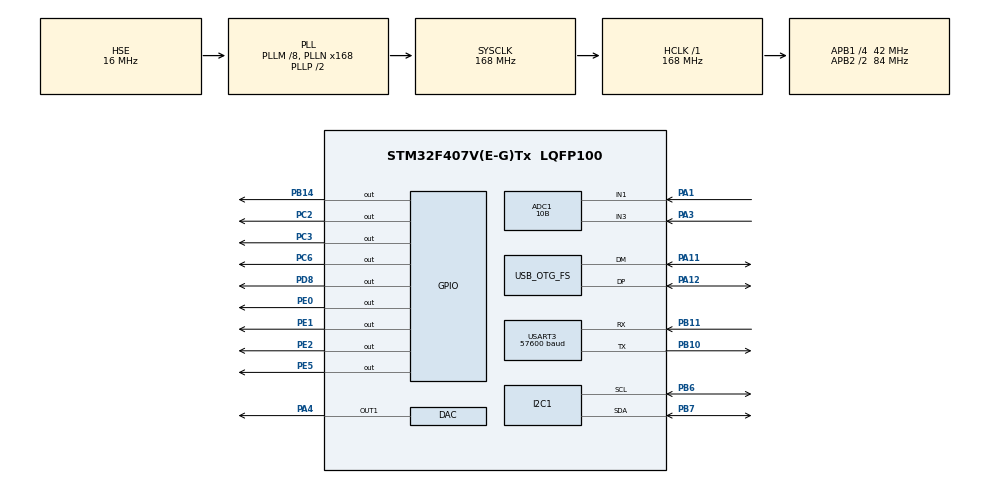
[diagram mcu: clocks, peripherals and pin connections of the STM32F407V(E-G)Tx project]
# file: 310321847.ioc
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ADC1.Channel-0\#ChannelRegularConversion=ADC_CHANNEL_1
ADC1.Channel-1\#ChannelRegularConversion=ADC_CHANNEL_3
ADC1.ContinuousConvMode=ENABLE
ADC1.DMAContinuousRequests=ENABLE
ADC1.NbrOfConversion=2
ADC1.NbrOfConversionFlag=1
ADC1.Rank-0\#ChannelRegularConversion=1
ADC1.Rank-1\#ChannelRegularConversion=2
ADC1.Resolution=ADC_RESOLUTION_10B
ADC1.SamplingTime-0\#ChannelRegularConversion=ADC_SAMPLETIME_480CYCLES
ADC1.SamplingTime-1\#ChannelRegularConversion=ADC_SAMPLETIME_480CYCLES
ADC1.ScanConvMode=ENABLE
ADC1.master=1
Dma.ADC1.0.Direction=DMA_PERIPH_TO_MEMORY
Dma.ADC1.0.FIFOMode=DMA_FIFOMODE_ENABLE
Dma.ADC1.0.FIFOThreshold=DMA_FIFO_THRESHOLD_FULL
Dma.ADC1.0.Instance=DMA2_Stream4
Dma.ADC1.0.MemBurst=DMA_MBURST_SINGLE
Dma.ADC1.0.MemDataAlignment=DMA_MDATAALIGN_HALFWORD
Dma.ADC1.0.MemInc=DMA_MINC_ENABLE
Dma.ADC1.0.Mode=DMA_CIRCULAR
Dma.ADC1.0.PeriphBurst=DMA_PBURST_SINGLE
Dma.ADC1.0.PeriphDataAlignment=DMA_PDATAALIGN_HALFWORD
Dma.ADC1.0.PeriphInc=DMA_PINC_DISABLE
Dma.ADC1.0.Priority=DMA_PRIORITY_LOW
Dma.Request0=ADC1
Mcu.Family=STM32F4
Mcu.Name=STM32F407V(E-G)Tx
Mcu.Package=LQFP100
NVIC.DMA2_Stream4_IRQn=true\:0\:0\:false\:false\:true\:false\:true
NVIC.OTG_FS_IRQn=true\:0\:0\:false\:false\:true\:false\:true
NVIC.PriorityGroup=NVIC_PRIORITYGROUP_4
NVIC.TIM2_IRQn=true\:0\:0\:false\:false\:true\:true\:true
NVIC.TIM3_IRQn=true\:0\:0\:false\:false\:true\:true\:true
NVIC.USART3_IRQn=true\:0\:0\:false\:false\:true\:true\:true
PA1.Signal=ADCx_IN1
PA11.Mode=Device_Only
PA11.Signal=USB_OTG_FS_DM
PA12.Mode=Device_Only
PA12.Signal=USB_OTG_FS_DP
PA13.Mode=Serial_Wire
PA13.Signal=SYS_JTMS-SWDIO
PA14.Mode=Serial_Wire
PA14.Signal=SYS_JTCK-SWCLK
PA3.Signal=ADCx_IN3
PA4.Signal=COMP_DAC1_group
PB10.Mode=Asynchronous
PB10.Signal=USART3_TX
PB11.Mode=Asynchronous
PB11.Signal=USART3_RX
PB14.Signal=GPIO_Output
PB6.Mode=I2C
PB6.Signal=I2C1_SCL
PB7.Mode=I2C
PB7.Signal=I2C1_SDA
PC2.Signal=GPIO_Output
PC3.Signal=GPIO_Output
PC6.Signal=GPIO_Output
PD8.Signal=GPIO_Output
PE0.Signal=GPIO_Output
PE1.Signal=GPIO_Output
PE2.Signal=GPIO_Output
PE5.Signal=GPIO_Output
PH0-OSC_IN.Mode=HSE-External-Oscillator
PH0-OSC_IN.Signal=RCC_OSC_IN
PH1-OSC_OUT.Mode=HSE-External-Oscillator
PH1-OSC_OUT.Signal=RCC_OSC_OUT
ProjectManager.HeapSize=0x1000
ProjectManager.StackSize=0x500
ProjectManager.TargetToolchain=MDK-ARM V5
RCC.48MHZClocksFreq_Value=48000000
RCC.AHBFreq_Value=168000000
RCC.APB1CLKDivider=RCC_HCLK_DIV4
RCC.APB1Freq_Value=42000000
RCC.APB1TimFreq_Value=84000000
RCC.APB2CLKDivider=RCC_HCLK_DIV2
RCC.APB2Freq_Value=84000000
RCC.APB2TimFreq_Value=168000000
RCC.CortexFreq_Value=168000000
RCC.EnbaleCSS=true
RCC.HCLKFreq_Value=168000000
RCC.HSE_VALUE=16000000
RCC.HSI_VALUE=16000000
RCC.LSE_VALUE=32768
RCC.PLLM=8
RCC.PLLN=168
RCC.PLLQ=7
RCC.SYSCLKFreq_VALUE=168000000
RCC.SYSCLKSource=RCC_SYSCLKSOURCE_PLLCLK
RCC.VCOOutputFreq_Value=336000000
SH.ADCx_IN1.0=ADC1_IN1,IN1
SH.ADCx_IN3.0=ADC1_IN3,IN3
SH.COMP_DAC1_group.0=DAC_OUT1,DAC_OUT1
TIM2.AutoReloadPreload=TIM_AUTORELOAD_PRELOAD_ENABLE
TIM2.Period=499
TIM2.Prescaler=8399
TIM2.TIM_MasterOutputTrigger=TIM_TRGO_UPDATE
TIM3.AutoReloadPreload=TIM_AUTORELOAD_PRELOAD_ENABLE
TIM3.Period=499
TIM3.Prescaler=8399
TIM3.TIM_MasterOutputTrigger=TIM_TRGO_UPDATE
USART3.BaudRate=57600
USART3.VirtualMode=VM_ASYNC
USB_DEVICE.APP_RX_DATA_SIZE-CDC_FS=64
USB_DEVICE.APP_TX_DATA_SIZE-CDC_FS=64
USB_DEVICE.CLASS_NAME_FS=CDC
USB_DEVICE.CONFIGURATION_STRING_CDC_FS=CDC Configure
USB_DEVICE.USBD_MAX_STR_DESC_SIZ-CDC_FS=128
USB_DEVICE.VirtualMode-CDC_FS=Cdc
USB_DEVICE.VirtualModeFS=Cdc_FS
USB_OTG_FS.VirtualMode=Device_Only
VP_TIM2_VS_ClockSourceINT.Mode=Internal
VP_TIM3_VS_ClockSourceINT.Mode=Internal
VP_USB_DEVICE_VS_USB_DEVICE_CDC_FS.Mode=CDC_FS
board=custom

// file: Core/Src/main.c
/* USER CODE BEGIN Header */
/**
  ******************************************************************************
  * @file           : main.c
  * @brief          : Main program body
  ******************************************************************************
  * @attention
  *
  * <h2><center>&copy; Copyright (c) 2021 STMicroelectronics.
  * All rights reserved.</center></h2>
  *
  * This software component is licensed by ST under Ultimate Liberty license
  * SLA0044, the "License"; You may not use this file except in compliance with
  * the License. You may obtain a copy of the License at:
  *                             www.st.com/SLA0044
  *
  ******************************************************************************
  */
/* USER CODE END Header */

#include "main.h"
#include "adc.h"
#include "dac.h"
#include "dma.h"
#include "i2c.h"
#include "tim.h"
#include "usart.h"
#include "usb_device.h"
#include "gpio.h"

/* USER CODE BEGIN Includes */
#include "usbd_cdc_if.h"
#include "string.h"
#include "stdio.h"
#include "math.h"

/* USER CODE END Includes */

/* USER CODE BEGIN PM */
#define  ExpValve_Open()        (GPIOC->ODR&=(~(1<<2)))
#define  ExpValve_Close()       (GPIOC->ODR|=(1<<2))
#define  InspValve_Close()      (GPIOC->ODR|=(1<<3))
#define  InspValve_Open()       (GPIOC->ODR&=(~(1<<3)))

#define  CMVPC                   1
#define  CMVVC                   2
#define  SIMVPC                  3
#define  SIMVVC                  4
#define  cPAP                    5
#define  BiPAP                   6
#define  PSV                     7
#define  APRVC                   8

#define  Exp_Cycle               1
#define  Insp_Cycle              0

/* USER CODE END PM */

/* USER CODE BEGIN PV */
const float delP_sensitivity=1.000;
const float gP_sensitivity=44.13;
const float gP_samples=10;
const float delP_samples=8;
uint16_t AdcData[2];
uint16_t gP_volt,delP_volt;
uint16_t delPraw,gPraw;
uint16_t gP_oldF,gP_newF,delP_oldF,delP_newF;
uint16_t P_Offset,P_Online,P_Online1;

float delPOffset=2532.40,delPOnline;
float pressure=0,P_cmh2o=0,P_cmh2o1=0;
float delp_flow1=0,dp=0,dp1=0;
float Volume=0,Flow_Volume;
double	Flow=0,Flow1=0,Flow2=0,delp_flow=0;
int P_UART,F_UART,V_UART;
int P_USB,F_USB,V_USB;
uint32_t UART_count=0;
uint8_t  debug=1;
#define ADS1115_ADDRESS 0x49
unsigned char ADSwrite[3];
unsigned char ADSread[2];
int16_t O2raw;
int16_t AWflowraw;
int16_t O2flowraw;
int16_t Pressureraw;
float P_volt;
float F_volt;
uint16_t	flow_F=0;
	long c2=0,c1=0;

/* tab communication data Manipulating Parameters */

char Rx_UART[]="s0000";
char Rx_USB[6];
char Tx_UART[]="999\n";
char Tx_UART_Regular[]="P00Q0000V00000\n";
char Tx_UART_Sampled[]="00p0000q0000v0\n";
char Tx_USB_Regular[]="P00Q0000V00000\n";
char Tx_USB_Sampled[]="00p0000q0000v0\n";
float reacedVolume=0,reacedPIP=0,reacedPEEP=0;
char Flag;
uint8_t mode=1,stop=0,confirm=0,status=0,u_status=0;
int value1=0;

/* set data Calculating Parameters */
uint8_t PIP=50,PEEP=0,reached_pip=0,reached_peep=0;
uint8_t RespiratoryRate=20,Iratio=1,Eratio=2;
float Tinsp2=0,Texp2=0,Tinsp1=0,Texp1=0,Tresp=0,b_speed=0;
uint16_t Tinsp=0,Texp=0,last_insp=0,last_exp=0;
uint16_t reached_volume=0,PIP_Raw=0,PEEP_Raw=0;
float FiO2=21,Trise=0;
uint16_t VOL=250,Timeslice=1;
uint8_t speed=0;
uint16_t DataValue=0, blowerSpeed=0,Timeslice;
uint8_t cycle=0,count=0,breath_cycle=0,stabilize_count=0;
uint16_t fl1=0;
uint8_t vflag=0;
typedef struct
{
	uint8_t     running_mode;
	uint8_t     RR;
	uint8_t     I;
	uint8_t     E;
	uint8_t     Pip;
	uint8_t     Peep;
	uint16_t    Vol;
	float       O2;
	float       Trise;
}running_data;

running_data Data1={0,0,0,0,0,0,0,0,0};

typedef struct
{
	uint8_t    RespiratoryRate;
	uint8_t    InspirationRatio;
	uint8_t    ExpirationRatio;
	uint8_t    pip;
	uint8_t    peep;
	uint16_t   Volume;
	float      Oxygen;
	float      Risetime;
}Modes;

  Modes CMV_PC= {15,1,2,50,5,250,21,1};
	Modes CMV_VC= {15,1,2,30,5,1000,21,1};
	Modes SIMV_PC= {15,1,2,30,5,1,21,1};
	Modes SIMV_VC= {15,1,2,30,5,5,21,1};
	Modes PS_V=    {15,1,2,30,5,5,21,1};
	Modes cPAP_V= {15,1,2,30,5,5,21,1};
	Modes BiPAP_V= {15,1,2,30,5,1,21,1};
	Modes APR_VC= {15,1,2,30,5,5,21,1};

struct States
{
	void(*functionPointer)(void);
	uint32_t countInstances;
	const struct States *Next_Sequence[2];
};
typedef const struct States Sequence;

ADC_AnalogWDGConfTypeDef AnalogWDGConfig = {0};

/* USER CODE END PV */

void SystemClock_Config(void);
/* USER CODE BEGIN PFP */
void Breath_update(void)
{
	if(last_insp!=Tinsp)
	{
	HAL_TIM_Base_Stop_IT(&htim2);
	TIM2->ARR=Tinsp;
	last_insp=Tinsp;
	HAL_TIM_Base_Start_IT(&htim2);
	}
	else
	{
	HAL_TIM_Base_Stop_IT(&htim2);
	TIM2->ARR=Tinsp;
	HAL_TIM_Base_Start_IT(&htim2);
	}
}
int Decode(char Rx1[])
{
	int value=0;
	if(Rx1[0]=='\n')return 0;
	else
{
	Flag=Rx1[0];
  for(int i=1;Rx1[i]!='\n';i++)
	{
	value=(value*10)+(Rx1[i]-48);
	}
}
	return value;
}
void Tinex_calc(void)
	{
	Tresp=(600000/(Data1.RR));                               // 10000 timercount=1sec,600000count=min
	Tinsp2=1.00*Data1.I/(Data1.I+Data1.E);
	Tinsp1=Tinsp2*Tresp;
  Texp1=Tresp-Tinsp1;
	Tinsp=(uint16_t)Tinsp1;
 	Texp=(uint16_t)Texp1;
  Tinsp= Tinsp-1;
	Texp=Texp-1;
	}
uint16_t F_gPCalc(uint16_t value)
{
	  gPraw=value;
	/*  gP_newF=gPraw;
		gP_newF=((gP_newF-gP_oldF)/gP_samples)+gP_oldF;
		gP_oldF=gP_newF;*/
 	  gP_volt=(gPraw*5000)/1023;
	  return gP_volt;
}

	void Task_BreathSequence(void)
{

}
uint16_t ADS1115_Getdata(uint8_t channel)
{
		  uint16_t  ADCraw=0;
		ADSwrite[0] = 0x01;
		switch(channel)
		{
			case 0:
		 				ADSwrite[1] =0xCD;                         // 1100 1101       0.256V,Channel_0
		   			break;
		 case 1:
			     ADSwrite[1] = 0xD3;                        // 1101 0011       4.096V,Channel_1
		   		 break;
		 case 2:
			     ADSwrite[1] = 0xE3;                        // 1110 0011       4.096V,Channel_2
		       break;
		 case 3:
			     ADSwrite[1] = 0xC3;                        // 1111 0011   4.096V,Channel_3//changed to  1100 0011   4.096V,Channel_3
		       break;
		}

	        ADSwrite[2] = 0x83;                         // 10000011     128 SamplesperSecond,No comparator //changed to 0x83
		      HAL_Delay(10);
      		HAL_I2C_Master_Transmit(&hi2c1, ADS1115_ADDRESS<<1, ADSwrite, 3, 10);
				  ADSwrite[0] = 0x00;
		  		HAL_I2C_Master_Transmit(&hi2c1, ADS1115_ADDRESS<<1, ADSwrite, 1, 10);

					HAL_I2C_Master_Receive(&hi2c1, (ADS1115_ADDRESS<<1),ADSread,2,10);

		    ADCraw = (ADSread[0] << 8 | ADSread[1]);

		    return   ADCraw;
		}
float Raw_Volt(uint16_t r)
{
	float volt=0;
	volt=(r*4096.00)/32768;
	return volt;
}
uint16_t F_delPCalc(uint16_t value)
{
	 	delPraw=value;
  	delP_newF=delPraw;
		delP_newF=((delP_newF-delP_oldF)/5.00)+delP_oldF;
	 delP_oldF=delP_newF;
	  return delP_newF;
}
	 void GetFlow(void)
	 {
	 	AWflowraw=ADS1115_Getdata(3);
	flow_F=F_delPCalc(AWflowraw);
F_volt=Raw_Volt(flow_F);
	 }
	 void	function_gPcalibration(void)
	{
		for(int n=0;n<1000;n++)
		{
    P_Offset=F_gPCalc(AdcData[1]);
		HAL_Delay(1);
		}

	}

	void	function_delPcalibration(void)
	{
		for(int n=0;n<1000;n++)
		{
		GetFlow();
	  delPOffset=(F_volt);
  	HAL_Delay(1);
	 }
	}
	void Task_OffsetCalculations(void)
{
	  InspValve_Close();
	  ExpValve_Close();
	  HAL_Delay(2000);
		function_gPcalibration();
  	function_delPcalibration();
}
void Task_ReceivingPara(void)
{
	if(Flag=='Z')
	  {
		switch(stop)
		{
		 case 0:

		 debug=0;
//				if(u_status==1)
//			{
//					HAL_TIM_Base_Start_IT(&htim2);
//			}
			break;
		 case 1:
					 debug=1;
//			HAL_TIM_Base_Stop_IT(&htim2);
//		  ExpValve_Open();
//		  InspValve_Close();
			break;
		 default:
			 break;
	}
}
		switch(mode)
		{
		case CMVPC:
		CMV_PC.RespiratoryRate=RespiratoryRate;
		CMV_PC.InspirationRatio=Iratio;
		CMV_PC.ExpirationRatio=Eratio;
		CMV_PC.pip=PIP;
		CMV_PC.peep=PEEP;
		CMV_PC.Volume=VOL;
		CMV_PC.Risetime=Trise;
		CMV_PC.Oxygen=FiO2;
			break;
			case CMVVC:
		CMV_VC.RespiratoryRate=RespiratoryRate;
		CMV_VC.InspirationRatio=Iratio;
		CMV_VC.ExpirationRatio=Eratio;
		CMV_VC.pip=PIP;
		CMV_VC.peep=PEEP;
		CMV_VC.Volume=VOL;
		CMV_VC.Risetime=Trise;
		CMV_VC.Oxygen=FiO2;
		 	break;
			case SIMVVC:
		SIMV_VC.RespiratoryRate=RespiratoryRate;
		SIMV_VC.InspirationRatio=Iratio;
		SIMV_VC.ExpirationRatio=Eratio;
		SIMV_VC.pip=PIP;
		SIMV_VC.peep=PEEP;
		SIMV_VC.Volume=VOL;
		SIMV_VC.Risetime=Trise;
		SIMV_VC.Oxygen=FiO2;
		 	break;
			case SIMVPC:
		SIMV_PC.RespiratoryRate=RespiratoryRate;
		SIMV_PC.InspirationRatio=Iratio;
		SIMV_PC.ExpirationRatio=Eratio;
		SIMV_PC.pip=PIP;
		SIMV_PC.peep=PEEP;
		SIMV_PC.Volume=VOL;
		SIMV_PC.Risetime=Trise;
		SIMV_PC.Oxygen=FiO2;
		 	break;
			case cPAP:
		cPAP_V.RespiratoryRate=RespiratoryRate;
		cPAP_V.InspirationRatio=Iratio;
		cPAP_V.ExpirationRatio=Eratio;
		cPAP_V.pip=PIP;
		cPAP_V.peep=PEEP;
		cPAP_V.Volume=VOL;
		cPAP_V.Risetime=Trise;
		cPAP_V.Oxygen=FiO2;
		  break;
			case BiPAP:
		BiPAP_V.RespiratoryRate=RespiratoryRate;
		BiPAP_V.InspirationRatio=Iratio;
		BiPAP_V.ExpirationRatio=Eratio;
		BiPAP_V.pip=PIP;
		BiPAP_V.peep=PEEP;
		BiPAP_V.Volume=VOL;
		BiPAP_V.Risetime=Trise;
		BiPAP_V.Oxygen=FiO2;
		   break;
			case APRVC:
		APR_VC.RespiratoryRate=RespiratoryRate;
		APR_VC.InspirationRatio=Iratio;
		APR_VC.ExpirationRatio=Eratio;
		APR_VC.pip=PIP;
		APR_VC.peep=PEEP;
		APR_VC.Volume=VOL;
		APR_VC.Risetime=Trise;
		APR_VC.Oxygen=FiO2;
			break;
			case PSV:
		PS_V.RespiratoryRate=RespiratoryRate;
		PS_V.InspirationRatio=Iratio;
		PS_V.ExpirationRatio=Eratio;
		PS_V.pip=PIP;
		PS_V.peep=PEEP;
		PS_V.Volume=VOL;
		PS_V.Risetime=Trise;
		PS_V.Oxygen=FiO2;
				break;
			default:
			break;
	}
	if(confirm==1)
	//		if((stop==0)&&(confirm==1))
		 {
		 Data1.running_mode=mode;
		 switch(Data1.running_mode)
		 {
	     case CMVPC:
		Data1.RR=CMV_PC.RespiratoryRate;
    Data1.I=CMV_PC.InspirationRatio;
		Data1.E=CMV_PC.ExpirationRatio;
		Data1.Pip=CMV_PC.pip;
		Data1.Peep=CMV_PC.peep;
		Data1.Vol=CMV_PC.Volume;
		Data1.Trise=CMV_PC.Risetime;
		Data1.O2=CMV_PC.Oxygen;
	     break;
			 case CMVVC:
	  Data1.RR=CMV_VC.RespiratoryRate;
    Data1.I=CMV_VC.InspirationRatio;
		Data1.E=CMV_VC.ExpirationRatio;
		Data1.Pip=CMV_VC.pip;
		Data1.Peep=CMV_VC.peep;
		Data1.Vol=CMV_VC.Volume;
		Data1.Trise=CMV_VC.Risetime;
		Data1.O2=CMV_VC.Oxygen;
			 break;
			 case SIMVVC:
		Data1.RR=SIMV_VC.RespiratoryRate;
    Data1.I=SIMV_VC.InspirationRatio;
		Data1.E=SIMV_VC.ExpirationRatio;
		Data1.Pip=SIMV_VC.pip;
		Data1.Peep=SIMV_VC.peep;
		Data1.Vol=SIMV_VC.Volume;
		Data1.Trise=SIMV_VC.Risetime;
		Data1.O2=SIMV_VC.Oxygen;
			 break;
			 case SIMVPC:
		Data1.RR=SIMV_PC.RespiratoryRate;
    Data1.I=SIMV_PC.InspirationRatio;
		Data1.E=SIMV_PC.ExpirationRatio;
		Data1.Pip=SIMV_PC.pip;
		Data1.Peep=SIMV_PC.peep;
		Data1.Vol=SIMV_PC.Volume;
		Data1.Trise=SIMV_PC.Risetime;
		Data1.O2=SIMV_PC.Oxygen;
			break;
			 case cPAP:
		Data1.RR=cPAP_V.RespiratoryRate;
    Data1.I=cPAP_V.InspirationRatio;
		Data1.E=cPAP_V.ExpirationRatio;
		Data1.Pip=cPAP_V.pip;
		Data1.Peep=cPAP_V.peep;
		Data1.Vol=cPAP_V.Volume;
		Data1.Trise=cPAP_V.Risetime;
		Data1.O2=cPAP_V.Oxygen;
				break;
			 case BiPAP:
		Data1.RR=BiPAP_V.RespiratoryRate;
    Data1.I=BiPAP_V.InspirationRatio;
		Data1.E=BiPAP_V.ExpirationRatio;
		Data1.Pip=BiPAP_V.pip;
		Data1.Peep=BiPAP_V.peep;
		Data1.Vol=BiPAP_V.Volume;
		Data1.Trise=BiPAP_V.Risetime;
		Data1.O2=BiPAP_V.Oxygen;
			 	break;
			 case APRVC:
  	Data1.RR=APR_VC.RespiratoryRate;
    Data1.I=APR_VC.InspirationRatio;
		Data1.E=APR_VC.ExpirationRatio;
		Data1.Pip=APR_VC.pip;
		Data1.Peep=APR_VC.peep;
		Data1.Vol=APR_VC.Volume;
		Data1.Trise=APR_VC.Risetime;
		 Data1.O2=APR_VC.Oxygen;
		  	break;
			 case PSV:
		Data1.RR=PS_V.RespiratoryRate;
    Data1.I=PS_V.InspirationRatio;
		Data1.E=PS_V.ExpirationRatio;
		Data1.Pip=PS_V.pip;
		Data1.Peep=PS_V.peep;
		Data1.Vol=PS_V.Volume;
		Data1.Trise=PS_V.Risetime;
		 Data1.O2=PS_V.Oxygen;
			 break;
			 default:
			break;
		}
	 	Tinex_calc();
		breath_cycle=1;
		HAL_TIM_Base_Start_IT(&htim2);
		Volume=0;
		u_status=1;
		confirm=0;
	   }
	 }

/* USER CODE END PFP */

/* USER CODE BEGIN 0 */

	 void _Flow()
{
   GetFlow();
	delp_flow1 =(F_volt-delPOffset)/1000.00;  //kpa

			dp=delp_flow1*10; //mbar

			Flow1=0.1512*dp*dp*dp-3.3424*dp*dp+41.657*dp;
		//	y=-0.0030x2+1.6819x+1.6929
	//y=-0.0047x2+1.9158x-6.8949 // distorted values taken +ve flow
	//y=0.0000x3+0.0109x2+1.8974x+6.6549 // distorted values -ve flow
	//y=-0.0001x3+0.0073x2+1.0867x-0.2701 // sunday upto 100 cubic
	/////////////////////
			if(Flow1>=0)
			{
				//Flow1=-0.0070*Flow1*Flow1+1.5340*Flow1-2.5515;
		Flow2=(0.0073*Flow1*Flow1)+(1.0867*Flow1)-0.2701-(0.0001*Flow1*Flow1*Flow1);
//	      Flow1=0.007*Flow1*Flow1+0.449*Flow1+0.0021; //new equation from ADS1115
//				Flow1=-0.0030*Flow1*Flow1+1.6819*Flow1+1.6929; //+Ve

//		    Flow=-0.0047*Flow*Flow+1.9158*Flow-6.8949; //distorted +Ve
			}
			else
			{
			        Flow2=0.0039*Flow1*Flow1+1.1436*Flow1-0.5171;
				   //   Flow1=0.0012*Flow1*Flow1+0.8367*Flow1-7.1496;

//				    Flow1=-0.004*Flow1*Flow1+1.496*Flow1+1.743; //-ve
//					//Flow=0.0109*Flow*Flow+1.8974*Flow-6.6549;  //distorted -Ve
			}
		//	if((Flow2<1.2)&&(Flow2>-1.2))
	//		{
		//		Flow2=0;
		//	}
				F_USB=(int)Flow2;
	    	F_UART=F_USB;
							sprintf(Tx_USB_Regular,"P%02dQ%04dV%04d%d\n",(int)P_USB,(int)F_USB,(int)V_USB,cycle);
            	CDC_Transmit_FS((uint8_t*)Tx_USB_Regular,strlen(Tx_USB_Regular));
				    	sprintf(Tx_UART_Regular,"P%02dQ%04dV%04d%d\n",(int)P_UART,(int)F_UART,(int)V_UART,cycle);
	            HAL_UART_Transmit(&huart3,(uint8_t*)Tx_UART_Regular,sizeof(Tx_UART_Regular),5);

    sprintf(Tx_USB_Sampled,"p%02dq%04dv%04d%d\n",(int)reacedPEEP,(int)reacedPIP,(int)reacedVolume,cycle);
		CDC_Transmit_FS((uint8_t*)Tx_USB_Sampled,strlen(Tx_USB_Regular));
	 	sprintf(Tx_UART_Sampled,"p%02dq%04dv%04d%d\n",(int)reacedPEEP,(int)reacedPIP,(int)reacedVolume,cycle);
	  HAL_UART_Transmit(&huart3,(uint8_t*)Tx_UART_Sampled,sizeof(Tx_UART_Sampled),5);

	 HAL_UART_Receive_IT(&huart3,(uint8_t*)Rx_UART,sizeof(Rx_UART));
}
/* USER CODE END 0 */

int main(void)
{

  /* MCU Configuration--------------------------------------------------------*/

  /* Reset of all peripherals, Initializes the Flash interface and the Systick. */
  HAL_Init();

  /* Configure the system clock */
  SystemClock_Config();

  /* Initialize all configured peripherals */
  MX_GPIO_Init();
  MX_DMA_Init();
  MX_ADC1_Init();
  MX_DAC_Init();

  MX_TIM2_Init();
  MX_TIM3_Init();
  MX_USB_DEVICE_Init();
  MX_USART3_UART_Init();
  MX_I2C1_Init();
  /* USER CODE BEGIN 2 */
	  GPIOE->ODR&=(~(1<<5));  // BLDC disable PE5
//		HAL_DAC_Start(&hdac,DAC1_CHANNEL_1);
//	HAL_DAC_SetValue(&hdac,DAC1_CHANNEL_1,DAC_ALIGN_12B_R,0);
	HAL_Delay(3000);
	HAL_UART_Receive_IT(&huart3,(uint8_t*)Rx_UART,sizeof(Rx_UART));
  HAL_ADC_Start_DMA(&hadc1,(uint32_t*)AdcData,2);
	Task_OffsetCalculations();
	HAL_TIM_Base_Start_IT(&htim3);
 	HAL_DAC_Start(&hdac,DAC1_CHANNEL_1);
 // BLDC enable PE5
	Volume=0;
  /* USER CODE END 2 */

  /* Infinite loop */
  while (1)
  {

    /* USER CODE BEGIN 3 */
P_Online=F_gPCalc(AdcData[1]);
pressure=P_Online-P_Offset;
P_cmh2o1=pressure/gP_sensitivity;
P_cmh2o=P_cmh2o1;
P_USB=(int)P_cmh2o;
P_UART=P_USB;
	_Flow();
			if(debug==1)
		{
			 InspValve_Open();
			 ExpValve_Close();
			 reacedPIP=P_cmh2o;
		   reacedVolume=Volume;
       _Flow();
		}
		////////////////////////////////////////////////////
			if(debug==0)
		{
			////////////////////////////////////////////////CMVPC
if(stabilize_count>3)
				{
		if(Data1.running_mode==CMVPC)
				{
		if(breath_cycle==0)
			{
		 GPIOE->ODR|=(1<<5);
		blowerSpeed=(PIP/60.00)*4095.00;
		HAL_DAC_SetValue(&hdac,DAC1_CHANNEL_1,DAC_ALIGN_12B_R,blowerSpeed);
		if(P_cmh2o>=PIP)
	    {

					 reacedPIP=P_cmh2o;
				  reacedVolume=Volume;
	while(breath_cycle==0)
					{
				HAL_DAC_SetValue(&hdac,DAC1_CHANNEL_1,DAC_ALIGN_12B_R,50);
				InspValve_Close();
				ExpValve_Close();
		P_Online=F_gPCalc(AdcData[1]);
		pressure=P_Online-P_Offset;
P_cmh2o1=pressure/gP_sensitivity;
P_cmh2o=P_cmh2o1;
P_USB=(int)P_cmh2o;
P_UART=P_USB;
 _Flow();

					}
			}
			else
			{

				InspValve_Open();
				ExpValve_Close();
			}
		}
				if(breath_cycle==1)
		{
		if(P_cmh2o<=PEEP)
	    {
						reacedPEEP=P_cmh2o;

 while(breath_cycle==1)
					{
				InspValve_Close();
				ExpValve_Close();
			  P_Online=F_gPCalc(AdcData[1]);
		pressure=P_Online-P_Offset;
	P_cmh2o1=pressure/gP_sensitivity;
	P_cmh2o=P_cmh2o1;
	P_USB=(int)P_cmh2o;
	P_UART=P_USB;
						_Flow();
		   	}
		}
			else
			{
					ExpValve_Open();
				InspValve_Close();

		}

	}
}
				/////////////////////////////////////////////////////////////
		if(Data1.running_mode==CMVVC)
				{
							if(breath_cycle==0)
			{
				 GPIOE->ODR|=(1<<5);
				blowerSpeed=(VOL/1200.00)*4095;
				HAL_DAC_SetValue(&hdac,DAC1_CHANNEL_1,DAC_ALIGN_12B_R,blowerSpeed);
	if(Volume>=VOL)
	    {
    		 reacedPIP=P_cmh2o;
				  reacedVolume=Volume;
		while(breath_cycle==0)
					{
		 		HAL_DAC_SetValue(&hdac,DAC1_CHANNEL_1,DAC_ALIGN_12B_R,0);
				InspValve_Close();
				ExpValve_Close();
		P_Online=F_gPCalc(AdcData[1]);
		pressure=P_Online-P_Offset;
P_cmh2o1=pressure/gP_sensitivity;
P_cmh2o=P_cmh2o1;
P_USB=(int)P_cmh2o;
P_UART=P_USB;
 _Flow();
			}
			}
			else
			{

				InspValve_Open();
				ExpValve_Close();
			}
		}
				if(breath_cycle==1)
		{
		if(P_cmh2o<=PEEP)
	    {
			 reacedPEEP=P_cmh2o;
        while(breath_cycle==1)
					{
				InspValve_Close();
				ExpValve_Close();
			  P_Online=F_gPCalc(AdcData[1]);
		pressure=P_Online-P_Offset;
	P_cmh2o1=pressure/gP_sensitivity;
	P_cmh2o=P_cmh2o1;
	P_USB=(int)P_cmh2o;
	P_UART=P_USB;
						_Flow();
			}
		}
			else
			{
					ExpValve_Open();
				InspValve_Close();

		}
	}
	}

				if(Data1.running_mode==SIMVPC)
				{
		if(breath_cycle==0)
			{
		reacedPEEP=P_cmh2o;
		if(P_cmh2o>=PIP)
	    {
					 reacedPIP=P_cmh2o;
				  reacedVolume=Volume;
	while(breath_cycle==0)
					{
		//		InspValve_Close();
				ExpValve_Close();
				P_Online=F_gPCalc(AdcData[1]);
		pressure=P_Online-P_Offset;
P_cmh2o1=pressure/gP_sensitivity;
P_cmh2o=P_cmh2o1;
P_USB=(int)P_cmh2o;
P_UART=P_USB;
 _Flow();

					}
			}
			else
			{

				InspValve_Open();
				ExpValve_Close();
			}
		}
				if(breath_cycle==1)
		{
		if(P_cmh2o<=PEEP)
	    {

while(breath_cycle==1)
					{
				InspValve_Close();
				ExpValve_Close();
			  P_Online=F_gPCalc(AdcData[1]);
		pressure=P_Online-P_Offset;
	P_cmh2o1=pressure/gP_sensitivity;
	P_cmh2o=P_cmh2o1;
	P_USB=(int)P_cmh2o;
	P_UART=P_USB;
						_Flow();
			}
		}
			else
			{
					ExpValve_Open();
				InspValve_Close();

		}

	}
}
			/////////////////////////////////////////////////////////////
		if(Data1.running_mode==SIMVVC)
				{
							if(breath_cycle==0)
			{
				blowerSpeed=(VOL/1200.00)*4095;
				HAL_DAC_SetValue(&hdac,DAC1_CHANNEL_1,DAC_ALIGN_12B_R,blowerSpeed);
	if(Volume>=VOL)
	    {
					 reacedPIP=P_cmh2o;
				  reacedVolume=Volume;
		while(breath_cycle==0)
					{
				HAL_DAC_SetValue(&hdac,DAC1_CHANNEL_1,DAC_ALIGN_12B_R,0);
				InspValve_Close();
				ExpValve_Close();
		P_Online=F_gPCalc(AdcData[1]);
		pressure=P_Online-P_Offset;
P_cmh2o1=pressure/gP_sensitivity;
P_cmh2o=P_cmh2o1;
P_USB=(int)P_cmh2o;
P_UART=P_USB;
 _Flow();
			}
			}
			else
			{

				InspValve_Open();
				ExpValve_Close();
			}
		}
				if(breath_cycle==1)
		{
		if(P_cmh2o<=PEEP)
	    {

	        	reacedPEEP=P_cmh2o;
while(breath_cycle==1)
					{
				InspValve_Close();
				ExpValve_Close();
			  P_Online=F_gPCalc(AdcData[1]);
		pressure=P_Online-P_Offset;
	P_cmh2o1=pressure/gP_sensitivity;
	P_cmh2o=P_cmh2o1;
	P_USB=(int)P_cmh2o;
	P_UART=P_USB;
						_Flow();
			}
		}
			else
			{
					ExpValve_Open();
				InspValve_Close();

		}

	}
	}
	stabilize_count=4;
}
}
}
}
//	else if(vflag==0){
//		Volume=0;
//		vflag=1;
//	}

  /* USER CODE END 3 */

void SystemClock_Config(void)
{
  RCC_OscInitTypeDef RCC_OscInitStruct = {0};
  RCC_ClkInitTypeDef RCC_ClkInitStruct = {0};

  /** Configure the main internal regulator output voltage
  */
  __HAL_RCC_PWR_CLK_ENABLE();
  __HAL_PWR_VOLTAGESCALING_CONFIG(PWR_REGULATOR_VOLTAGE_SCALE1);
  /** Initializes the CPU, AHB and APB busses clocks
  */
  RCC_OscInitStruct.OscillatorType = RCC_OSCILLATORTYPE_HSE;
  RCC_OscInitStruct.HSEState = RCC_HSE_ON;
  RCC_OscInitStruct.PLL.PLLState = RCC_PLL_ON;
  RCC_OscInitStruct.PLL.PLLSource = RCC_PLLSOURCE_HSE;
  RCC_OscInitStruct.PLL.PLLM = 8;
  RCC_OscInitStruct.PLL.PLLN = 168;
  RCC_OscInitStruct.PLL.PLLP = RCC_PLLP_DIV2;
  RCC_OscInitStruct.PLL.PLLQ = 7;
  if (HAL_RCC_OscConfig(&RCC_OscInitStruct) != HAL_OK)
  {
    Error_Handler();
  }
  /** Initializes the CPU, AHB and APB busses clocks
  */
  RCC_ClkInitStruct.ClockType = RCC_CLOCKTYPE_HCLK|RCC_CLOCKTYPE_SYSCLK
                              |RCC_CLOCKTYPE_PCLK1|RCC_CLOCKTYPE_PCLK2;
  RCC_ClkInitStruct.SYSCLKSource = RCC_SYSCLKSOURCE_PLLCLK;
  RCC_ClkInitStruct.AHBCLKDivider = RCC_SYSCLK_DIV1;
  RCC_ClkInitStruct.APB1CLKDivider = RCC_HCLK_DIV4;
  RCC_ClkInitStruct.APB2CLKDivider = RCC_HCLK_DIV2;

  if (HAL_RCC_ClockConfig(&RCC_ClkInitStruct, FLASH_LATENCY_5) != HAL_OK)
  {
    Error_Handler();
  }
  /** Enables the Clock Security System
  */
  HAL_RCC_EnableCSS();
}

/* USER CODE BEGIN 4 */
void HAL_UART_RxCpltCallback(UART_HandleTypeDef *huart)
{

 value1=Decode((char*)Rx_UART);
	switch(Flag)
	{
		case 'm':
			mode=value1;
			break;
		case 'r':
			RespiratoryRate=value1;
			break;
		case 'i':
			Iratio=value1;
			break;
   	case 'e':
			 Eratio=value1;
		if(Eratio<1)Eratio=1;
		break;
		case 'p':
			PEEP=value1;
			break;
		case 'q':
	  PIP=value1;
		if(PIP>=60)PIP=60;
		break;
		case 'c':
			VOL=value1;
		break;
		case 'o':
			FiO2=value1;
		break;
		case 'Z':
		  stop=value1;
		break;
		case 'C':
		  confirm=value1;
		break;
		default:
			break;
	}
	 Task_ReceivingPara();
}

void HAL_TIM_PeriodElapsedCallback(TIM_HandleTypeDef *htim)
{
	if(htim->Instance==TIM2)
	  {
			if(debug==0)
			{
	breath_cycle^=1;
	if(breath_cycle==0)
	{
		cycle^=1;
	 if(Volume!=0)
	 {
	delp_flow=0;
	Volume=0;
	 }

  // GPIOC->ODR&=(~(1<<3));
	 //GPIOC->ODR|=(1<<2);
	  HAL_TIM_Base_Stop_IT(&htim2);
	  TIM2->ARR=Texp;
	  HAL_TIM_Base_Start_IT(&htim2);
   }
		if(breath_cycle==1)
		{

   //GPIOC->ODR|=(1<<3);
   //GPIOC->ODR&=(~(1<<2));
   Breath_update();
		}
		}
	stabilize_count++;
	//	if(stabilize_count>3)Volume=0;

		}
if (htim->Instance == TIM3)
	 {
		 Flow_Volume=(Flow2/60.00)*60.00;
		 Volume=Volume+Flow_Volume;
		 V_USB=(int)Volume;
		 V_UART= V_USB;
	 }
 }
void HAL_UART_TxHalfCpltCallback(UART_HandleTypeDef *huart)
{
	//sprintf(Tx_UART_Sampled,"p%02dq%04dv%04d%d\n",(int)reacedPIP,(int)reacedPEEP,(int)reacedVolume,cycle);
	//HAL_UART_Transmit_DMA(&huart3,(uint8_t*)Tx_UART_Sampled,sizeof(Tx_UART_Sampled));
}
 void HAL_UART_TxCpltCallback(UART_HandleTypeDef *huart)
{
// 	sprintf(Tx_UART_Regular,"P%02dQ%04dV%04d%d\n",(int)P_UART,(int)F_UART,(int)V_UART,cycle);
//	HAL_UART_Transmit_IT(&huart3,(uint8_t*)Tx_UART_Regular,sizeof(Tx_UART_Regular));
}

/* USER CODE END 4 */

void Error_Handler(void)
{
}

/************************ (C) COPYRIGHT STMicroelectronics *****END OF FILE****/
